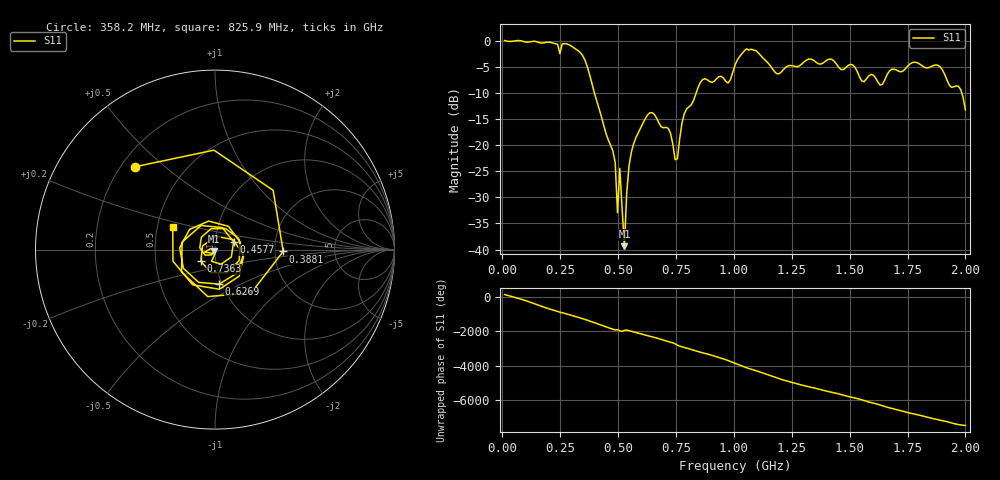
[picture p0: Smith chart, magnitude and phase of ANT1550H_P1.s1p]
!Created with skrf (http://scikit-rf.org).
# Hz S RI R 50.0
!freq ReS11 ImS11
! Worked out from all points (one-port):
!   201 points, 10 MHz to 2 GHz, reference 50 ohm
!   lowest |S11| = -39.3 dB at 527.4 MHz (marker M1), VSWR 1.02, Z = 49.3 - j0.847 ohm
!   |S11| at or under -10 dB: 397.8 MHz to 837.5 MHz (439.7 MHz wide, 71.2 % of centre); 1.984 GHz to end of sweep
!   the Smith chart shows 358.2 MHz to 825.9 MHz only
!   S11 on the Smith chart (normalised r, x): 358.2 MHz: 0.25, +0.40; 388.1 MHz: 2.23, -0.05; 457.8 MHz: 1.23, +0.11; 626.9 MHz: 0.97, -0.39; 736.4 MHz: 0.85, -0.11; 825.9 MHz: 0.60, +0.16
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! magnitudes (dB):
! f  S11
! 10 MHz  0.0
! 258.8 MHz  -0.6
! 358.2 MHz  -3.8
! 388.1 MHz  -8.4
! 457.8 MHz  -19.0
! 487.6 MHz  -23.3
! 497.6 MHz  -32.9
! 507.5 MHz  -24.4
! 527.4 MHz  -39.3
! 537.4 MHz  -29.2
! 557.2 MHz  -21.4
! 626.9 MHz  -14.3
! 736.4 MHz  -19.8
! 756.2 MHz  -22.6
! 786.1 MHz  -14.0
! 825.9 MHz  -11.5
! 865.7 MHz  -7.4
! 975.1 MHz  -8.1
! 1.005 GHz  -4.7
! 1.055 GHz  -1.6
! 1.184 GHz  -6.3
! 1.254 GHz  -4.8
! 1.502 GHz  -4.6
! 1.632 GHz  -8.5
! 1.751 GHz  -4.9
! 1.891 GHz  -5.0
! 1.98 GHz  -9.4
! 2 GHz  -13.3
